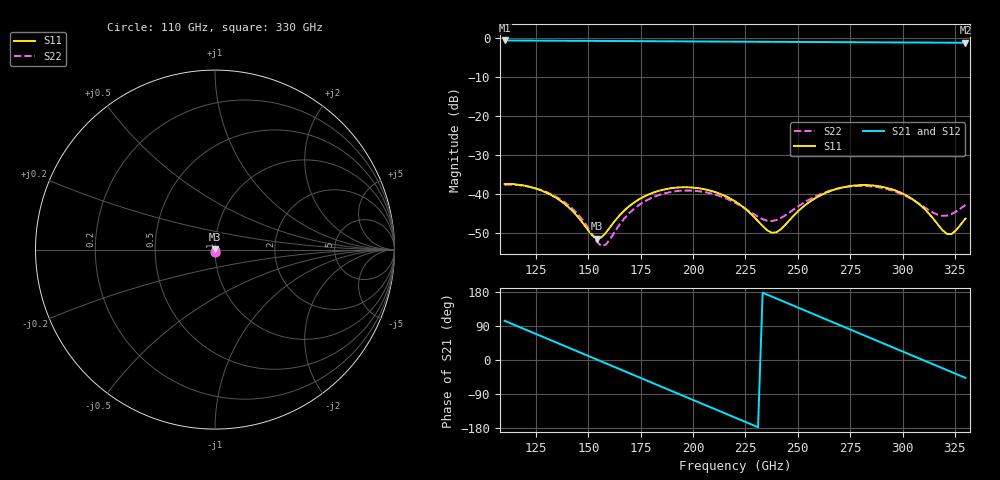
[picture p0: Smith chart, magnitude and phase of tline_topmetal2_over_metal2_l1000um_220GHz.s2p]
#  GHZ S DB R 50
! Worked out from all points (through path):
!   101 points, 110 GHz to 330 GHz, reference 50 ohm
!   highest |S21| = -0.61 dB at 110 GHz (marker M1); lowest = -1.2 dB at 330 GHz (marker M2)
!   group delay of S21, straight-line fit = 6.45 ps
!   lowest |S11| = -51.5 dB at 154 GHz (marker M3), VSWR 1.01, Z = 50.1 + j0.244 ohm
!   |S11| at or under -10 dB: start of sweep to end of sweep
!   |S22| runs from -53.5 to -37.7 dB; largest |S21 - S12| = 1e-13
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110  -37.50 -97.2  -0.61 103.4  -0.61 103.4  -37.73 -97.8
118.8  -37.86 -123.2  -0.64 83.0  -0.64 83.0  -37.94 -123.6
127.6  -39.19 -149.8  -0.66 62.6  -0.66 62.6  -39.09 -149.6
138.6  -42.58 173.0  -0.69 37.1  -0.69 37.1  -42.16 175.2
147.4  -47.57 130.2  -0.71 16.6  -0.71 16.6  -46.84 138.8
154  -51.51 66.5  -0.73 1.3  -0.73 1.3  -52.31 87.5
158.4  -49.99 15.3  -0.74 -8.9  -0.74 -8.9  -53.08 26.7
167.2  -44.29 -40.8  -0.76 -29.4  -0.76 -29.4  -46.33 -44.3
184.8  -39.08 -104.1  -0.82 -70.2  -0.82 -70.2  -40.14 -110.1
193.6  -38.37 -131.7  -0.85 -90.7  -0.85 -90.7  -39.25 -138.5
202.4  -38.57 -159.0  -0.87 -111.1  -0.87 -111.1  -39.33 -167.0
220  -41.95 142.7  -0.92 -151.8  -0.92 -151.8  -42.30 129.6
228.8  -45.80 103.8  -0.94 -172.2  -0.94 -172.2  -45.20 85.8
237.6  -50.04 33.4  -0.96 167.3  -0.96 167.3  -47.01 22.1
246.4  -46.57 -45.0  -0.98 146.9  -0.98 146.9  -44.66 -40.1
257.4  -41.46 -95.5  -1.01 121.4  -1.01 121.4  -40.94 -91.4
275  -38.03 -152.6  -1.06 80.5  -1.06 80.5  -38.14 -152.7
283.8  -37.81 -179.1  -1.08 60.1  -1.08 60.1  -38.05 178.6
294.8  -38.86 147.3  -1.11 34.6  -1.11 34.6  -39.16 141.4
308  -42.71 101.5  -1.15 4.0  -1.15 4.0  -42.60 86.8
321.2  -50.33 10.3  -1.18 -26.7  -1.18 -26.7  -45.62 -4.2
330  -46.36 -75.9  -1.20 -47.1  -1.20 -47.1  -42.91 -64.1
